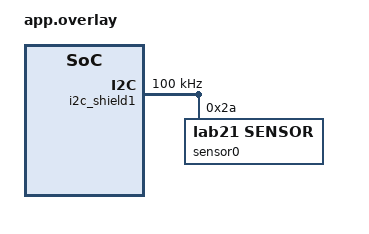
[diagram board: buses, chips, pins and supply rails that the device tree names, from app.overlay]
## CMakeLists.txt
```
cmake_minimum_required(VERSION 3.20.0)

# Allow Zephyr to find this lab's local DT binding
list(APPEND DTS_ROOT "${CMAKE_CURRENT_SOURCE_DIR}")

find_package(Zephyr REQUIRED HINTS $ENV{ZEPHYR_BASE})

project(lab21_i2c_register_update_zephyr LANGUAGES C)

target_sources(app PRIVATE
	src/main.c
	src/reg_access.c
)

target_include_directories(app PRIVATE
	"${CMAKE_CURRENT_SOURCE_DIR}/src"
)
```

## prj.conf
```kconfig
#
# I2C
#
CONFIG_I2C=y
CONFIG_I2C_SBCON=y

#
# Application receive queue
#
CONFIG_RING_BUFFER=y

#
# I2C is owned by this lab
#
CONFIG_CONSOLE=n
CONFIG_PRINTK=n
CONFIG_LOG=n

# QEMU-only target for the lab21 register-access test
CONFIG_QEMU_EXTRA_FLAGS="-device at24c-eeprom,id=lab21_regs,bus=/versatile_i2c/i2c,address=0x2a,rom-size=256,address-size=1,writable=on"


#
# Debug-friendly build
#
CONFIG_DEBUG=y
CONFIG_NO_OPTIMIZATIONS=y
CONFIG_ASSERT=y

#
# Runtime
#
CONFIG_MAIN_STACK_SIZE=2048
```

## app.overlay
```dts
/*
* MPS2 board DTS already defines:
*    i2c_shield1: i2c@4002a00 {
*    ...
*    };
*
* Lab21 only enables/uses it
*/
&i2c_shield1 {
    status = "okay";
    clock-frequency = <100000>;

    sensor0: sensor@2a {
        compatible = "lab21,sensor";
        reg = <0x2a>;
        status = "okay";

        /*
        * EXAMPLE VALUES ONLY
        */
        lab21,test-reg = <0x10>;
        lab21,test-mask = <0x0f>;
        lab21,test-value = <0x05>;
    };
};
```

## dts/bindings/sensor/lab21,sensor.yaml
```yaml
description: Lab21 generic sensor with 8-bit I2C configuration registers
compatible: "lab21,sensor"
include: i2c-device.yaml

properties:
  lab21,test-reg:
    type: int
    required: true
    description: Safe readable/writable 8-bit configuration register

  lab21,test-mask:
    type: int
    required: true
    description: Configuration bits changed by the interview exercise

  lab21,test-value:
    type: int
    required: true
    description: Value supplying the new masked bits
```

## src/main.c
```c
#include "reg_access.h"

#include <stdint.h>

#include <zephyr/device.h>
#include <zephyr/devicetree.h>
#include <zephyr/kernel.h>

#define SENSOR_NODE DT_NODELABEL(sensor0)
#define I2C_NODE    DT_NODELABEL(i2c_shield1)

#define TEST_REG \
	((uint8_t)DT_PROP(SENSOR_NODE, lab21_test_reg))

#define TEST_MASK \
	((uint8_t)DT_PROP(SENSOR_NODE, lab21_test_mask))

#define TEST_VALUE \
	((uint8_t)DT_PROP(SENSOR_NODE, lab21_test_value))

#define LAB21_NOT_RUN (-999)

BUILD_ASSERT(DT_NODE_HAS_STATUS(SENSOR_NODE, okay),
		"sensor0 must be enabled");
BUILD_ASSERT(DT_NODE_HAS_STATUS(I2C_NODE, okay),
		"i2c_shield1 must be enabled");

enum lab21_stage {
    LAB21_STAGE_RESET = 0,
    LAB21_STAGE_BUS_READY,
    LAB21_STAGE_READ_ORIGINAL,
    LAB21_STAGE_DIRECT_WRITE,
    LAB21_STAGE_VERIFY_WRITE,
    LAB21_STAGE_RESTORE_AFTER_WRITE,
    LAB21_STAGE_UPDATE,
    LAB21_STAGE_VERIFY_UPDATE,
    LAB21_STAGE_NOOP_UPDATE,
    LAB21_STAGE_FINAL_RESTORE,
    LAB21_STAGE_DONE,
    LAB21_STAGE_ERROR
};

static const struct i2c_client g_sensor = {
    .bus = DEVICE_DT_GET(DT_BUS(SENSOR_NODE)),
    .addr = DT_REG_ADDR(SENSOR_NODE),
};

/*
 * GDB-visible state
 */
volatile enum lab21_stage g_lab21_stage;

volatile uintptr_t g_i2c_mmio_base;
volatile uint16_t g_sensor_addr;

volatile uint8_t g_test_reg;
volatile uint8_t g_test_mask;
volatile uint8_t g_test_value;

volatile uint8_t g_original_value;
volatile uint8_t g_direct_write_value;
volatile uint8_t g_after_direct_write;

volatile uint8_t g_expected_update_value;
volatile uint8_t g_after_update;

volatile int g_read_original_rc = LAB21_NOT_RUN;

volatile int g_direct_write_rc = LAB21_NOT_RUN;
volatile int g_verify_write_rc = LAB21_NOT_RUN;
volatile int g_restore_after_write_rc = LAB21_NOT_RUN;

volatile int g_update_rc = LAB21_NOT_RUN;
volatile int g_verify_update_rc = LAB21_NOT_RUN;

volatile int g_noop_update_rc = LAB21_NOT_RUN;
volatile int g_final_restore_rc = LAB21_NOT_RUN;

__attribute__((noinline))
void lab21_checkpoint(void) {
    __asm__ volatile("" ::: "memory");
}

static void lab21_error(void) {
    g_lab21_stage = LAB21_STAGE_ERROR;

    lab21_checkpoint();

    for (;;)
	k_sleep(K_FOREVER);
}

int main(void) {
    uint8_t value;

    g_lab21_stage = LAB21_STAGE_RESET;

    /* on MPS2/AN385: 0x4002A000 */
    g_i2c_mmio_base = (uintptr_t) DT_REG_ADDR(I2C_NODE);

    g_sensor_addr = g_sensor.addr;

    g_test_reg = TEST_REG;
    g_test_mask = TEST_MASK;
    g_test_value = TEST_VALUE;

    /* Controller readiness */
    if (!device_is_ready(g_sensor.bus))
	lab21_error();

    g_lab21_stage = LAB21_STAGE_BUS_READY;
    lab21_checkpoint();

    /* Test 1: reg_read_byte() */
    g_lab21_stage = LAB21_STAGE_READ_ORIGINAL;
    lab21_checkpoint();

    g_read_original_rc = reg_read_byte(&g_sensor, TEST_REG, &value);

    if (g_read_original_rc != 0)
	lab21_error();

    g_original_value = value;

    /* Test 2: reg_write_byte() */
    g_direct_write_value = (uint8_t)(g_original_value ^ TEST_MASK);

    g_lab21_stage = LAB21_STAGE_DIRECT_WRITE;
    lab21_checkpoint();

    g_direct_write_rc = reg_write_byte(&g_sensor, TEST_REG, g_direct_write_value);

    if (g_direct_write_rc != 0)
	lab21_error();

    g_lab21_stage = LAB21_STAGE_VERIFY_WRITE;
    lab21_checkpoint();

    g_verify_write_rc = reg_read_byte(&g_sensor, TEST_REG, &value);

    if (g_verify_write_rc != 0)
	lab21_error();

    g_after_direct_write = value;

    if (g_after_direct_write != g_direct_write_value)
	lab21_error();

    /* Restore original state before testing update() */
    g_lab21_stage = LAB21_STAGE_RESTORE_AFTER_WRITE;
    lab21_checkpoint();

    g_restore_after_write_rc = reg_write_byte(&g_sensor, TEST_REG, g_original_value);

    if (g_restore_after_write_rc != 0)
	lab21_error();

    /* Test 3: reg_update_byte() */
    g_expected_update_value = (uint8_t)((g_original_value & (uint8_t)~TEST_MASK) | (TEST_VALUE & TEST_MASK));

    g_lab21_stage = LAB21_STAGE_UPDATE;
    lab21_checkpoint();

    g_update_rc = reg_update_byte(&g_sensor, TEST_REG, TEST_MASK, TEST_VALUE);

    if (g_update_rc != 0)
	lab21_error();

    /* Verify against the physical sensor */
    g_lab21_stage = LAB21_STAGE_VERIFY_UPDATE;
    lab21_checkpoint();

    g_verify_update_rc = reg_read_byte(&g_sensor, TEST_REG, &value);

    if (g_verify_update_rc != 0)
	lab21_error();

    g_after_update = value;

    if (g_after_update != g_expected_update_value) {
        lab21_error();
    }

    /* Test 4: redundant-write suppression */

    g_lab21_stage = LAB21_STAGE_NOOP_UPDATE;
    lab21_checkpoint();

    g_noop_update_rc = reg_update_byte(&g_sensor, TEST_REG, TEST_MASK, g_after_update);

    if (g_noop_update_rc != 0)
	lab21_error();

    /* Leave physical hardware in its original state */
    g_lab21_stage = LAB21_STAGE_FINAL_RESTORE;
    lab21_checkpoint();

    g_final_restore_rc = reg_write_byte(&g_sensor, TEST_REG, g_original_value);

    if (g_final_restore_rc != 0)
        lab21_error();

    /* Success */
    g_lab21_stage = LAB21_STAGE_DONE;
    lab21_checkpoint();

    for (;;)
	k_sleep(K_FOREVER);

    return 0;
}
```

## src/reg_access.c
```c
#include "reg_access.h"

#include <errno.h>
#include <stddef.h>
#include <stdint.h>

#include <zephyr/device.h>
#include <zephyr/drivers/i2c.h>

static int validate_client (const struct i2c_client *client) {
    if (client == NULL || client->bus == NULL || client->addr > 0x7fU) {
        return -EINVAL;
    }

    if (!device_is_ready(client->bus)) {
        return -ENODEV;
    }

    return 0;
}

int reg_read_byte(const struct i2c_client *client, uint8_t reg, uint8_t *value) {
    int rc;

    if (value == NULL) {
        return -EINVAL;
    }

    rc = validate_client(client);

    if (rc != 0)
	return rc;

    return i2c_write_read(client->bus, client->addr, &reg, sizeof(reg), value, sizeof(*value));
}

int reg_write_byte(const struct i2c_client *client, uint8_t reg, uint8_t value) {
    int rc;

    uint8_t tx[2] = {
        reg,
	value
    };

    rc = validate_client(client);

    if (rc != 0)
	return rc;

    return i2c_write(client->bus, tx, sizeof(tx), client->addr);
}

int reg_update_byte(const struct i2c_client *client, uint8_t reg, uint8_t mask, uint8_t value) {
    uint8_t old_value;
    uint8_t new_value;

    int rc;

    rc = reg_read_byte(client, reg, &old_value);

    if (rc != 0)
	return rc;

    /* Preserve bits outside mask */
    new_value = (uint8_t) (old_value & (uint8_t)~mask) | (value & mask);

    /* Requirement */
    if (new_value == old_value)
	return 0;

    return reg_write_byte(client, reg, new_value);
}
```

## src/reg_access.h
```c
#ifndef LAB21_REG_ACCESS_H
#define LAB21_REG_ACCESS_H

#include <stdint.h>

#include <zephyr/device.h>

/*
 * Required minimal data structure
 *
 * bus:
 *     Zephyr I2C controller device
 *
 * addr:
 *     7-bit address of the target device on that bus
 */
struct i2c_client {
    const struct device *bus;
    uint16_t addr;
};

int reg_read_byte(const struct i2c_client *client, uint8_t reg, uint8_t *value);

int reg_write_byte(const struct i2c_client *client, uint8_t reg, uint8_t value);

int reg_update_byte(const struct i2c_client *client, uint8_t reg, uint8_t mask, uint8_t value);

#endif
```
